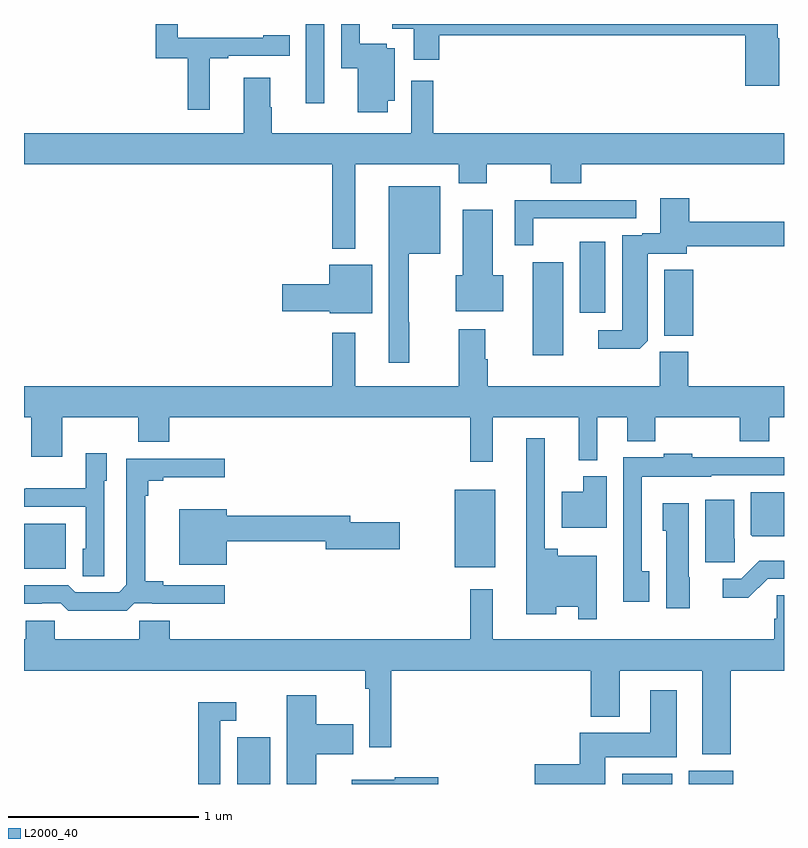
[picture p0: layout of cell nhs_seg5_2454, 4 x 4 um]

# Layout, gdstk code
import gdstk
lib = gdstk.Library(unit=1e-6, precision=1e-09)
def R(c, l, rs):  # rectangles x0, y0, x1, y1
    for r in rs: c.add(gdstk.rectangle(r[:2], r[2:], *l))
def P(c, l, *ps):  # polygons
    for p in ps: c.add(gdstk.Polygon(p, *l))
L2000_40 = (2000, 40)

nhs_seg5_2454 = lib.new_cell('nhs_seg5_2454')
R(nhs_seg5_2454, L2000_40, [(254.123,886.799,254.296,887.044), (256.148,886.799,256.411,886.852), (256.499,886.799,256.732,886.87), (253,887.933,253.219,888.169), (255.266,887.939,255.481,888.349), (255.677,889.056,255.838,889.546), (256.37,889.159,256.523,889.505), (255.926,889.278,256.06,889.654), (254.484,890.382,254.58,890.799)])
P(nhs_seg5_2454, L2000_40, [(253.978,890.619),(254.074,890.619),(254.074,890.631),(254.399,890.631),(254.399,890.74),(254.259,890.74),(254.259,890.727),(253.809,890.727),(253.809,890.799),(253.693,890.799),(253.693,890.619),(253.861,890.619),(253.861,890.349),(253.978,890.349)],
  [(254.914,890.396),(254.95,890.396),(254.95,890.671),(254.91,890.671),(254.91,890.694),(254.767,890.694),(254.767,890.799),(254.67,890.799),(254.67,890.566),(254.756,890.566),(254.756,890.334),(254.914,890.334)],
  [(256.974,890.723),(256.966,890.723),(256.966,890.799),(254.937,890.799),(254.937,890.774),(255.05,890.774),(255.05,890.61),(255.185,890.61),(255.185,890.74),(256.796,890.74),(256.796,890.475),(256.974,890.475)],
  [(254.743,890.06),(255.287,890.06),(255.287,889.961),(255.435,889.961),(255.435,890.06),(255.772,890.06),(255.772,889.961),(255.932,889.961),(255.932,890.06),(257,890.06),(257,890.224),(255.155,890.224),(255.155,890.5),(255.039,890.5),(255.039,890.224),(254.304,890.224),(254.304,890.361),(254.296,890.361),(254.296,890.515),(254.156,890.515),(254.156,890.224),(253,890.224),(253,890.06),(254.622,890.06),(254.622,889.616),(254.743,889.616)],
  [(255.028,889.229),(255.025,889.229),(255.025,889.589),(255.19,889.589),(255.19,889.945),(254.921,889.945),(254.921,889.017),(255.028,889.017)],
  [(256.282,889.132),(256.282,889.59),(256.489,889.59),(256.489,889.63),(257,889.63),(257,889.759),(256.502,889.759),(256.502,889.882),(256.349,889.882),(256.349,889.699),(256.253,889.699),(256.253,889.686),(256.148,889.686),(256.148,889.188),(256.023,889.188),(256.023,889.091),(256.241,889.091)],
  [(255.681,889.776),(256.222,889.776),(256.222,889.872),(255.582,889.872),(255.582,889.635),(255.681,889.635)],
  [(255.523,889.477),(255.466,889.477),(255.466,889.822),(255.308,889.822),(255.308,889.477),(255.272,889.477),(255.272,889.286),(255.523,889.286)],
  [(254.833,889.531),(254.606,889.531),(254.606,889.43),(254.358,889.43),(254.358,889.288),(254.61,889.288),(254.61,889.277),(254.833,889.277)],
  [(255.467,888.728),(255.92,888.728),(255.92,888.503),(256.018,888.503),(256.018,888.728),(256.175,888.728),(256.175,888.604),(256.323,888.604),(256.323,888.728),(256.767,888.728),(256.767,888.604),(256.923,888.604),(256.923,888.728),(257,888.728),(257,888.892),(256.496,888.892),(256.496,889.074),(256.345,889.074),(256.345,888.892),(255.44,888.892),(255.44,889.034),(255.427,889.034),(255.427,889.192),(255.287,889.192),(255.287,888.892),(254.743,888.892),(254.743,889.174),(254.622,889.174),(254.622,888.892),(253,888.892),(253,888.728),(253.037,888.728),(253.037,888.522),(253.201,888.522),(253.201,888.728),(253.601,888.728),(253.601,888.6),(253.765,888.6),(253.765,888.728),(255.349,888.728),(255.349,888.495),(255.467,888.495)],
  [(256.014,888.001),(255.81,888.001),(255.81,888.037),(255.741,888.037),(255.741,888.619),(255.644,888.619),(255.644,887.693),(255.802,887.693),(255.802,887.732),(255.918,887.732),(255.918,887.667),(256.014,887.667)],
  [(253.422,888.396),(253.435,888.396),(253.435,888.541),(253.326,888.541),(253.326,888.355),(253.009,888.355),(253.009,888.354),(253,888.354),(253,888.258),(253.326,888.258),(253.326,888.036),(253.31,888.036),(253.31,887.893),(253.422,887.893)],
  [(256.291,887.918),(256.251,887.918),(256.251,888.416),(256.617,888.416),(256.617,888.423),(257,888.423),(257,888.519),(256.518,888.519),(256.518,888.537),(256.368,888.537),(256.368,888.519),(256.155,888.519),(256.155,887.997),(256.154,887.997),(256.154,887.757),(256.291,887.757)],
  [(253.581,887.751),(253.675,887.751),(253.675,887.747),(254.056,887.747),(254.056,887.844),(253.732,887.844),(253.732,887.867),(253.637,887.867),(253.637,888.317),(253.655,888.317),(253.655,888.394),(253.732,888.394),(253.732,888.413),(254.056,888.413),(254.056,888.51),(253.539,888.51),(253.539,887.847),(253.5,887.808),(253.269,887.808),(253.233,887.844),(253,887.844),(253,887.747),(253.094,887.747),(253.094,887.751),(253.194,887.751),(253.234,887.712),(253.541,887.712)],
  [(256.066,888.418),(255.944,888.418),(255.944,888.337),(255.83,888.337),(255.83,888.149),(256.066,888.149)],
  [(257,888.334),(256.826,888.334),(256.826,888.112),(256.834,888.104),(257,888.104)],
  [(256.742,888.09),(256.738,888.09),(256.738,888.295),(256.586,888.295),(256.586,887.967),(256.742,887.967)],
  [(256.504,887.886),(256.498,887.886),(256.498,888.277),(256.361,888.277),(256.361,888.132),(256.379,888.132),(256.379,887.724),(256.504,887.724)],
  [(254.068,888.076),(254.588,888.076),(254.588,888.034),(254.977,888.034),(254.977,888.176),(254.716,888.176),(254.716,888.212),(254.068,888.212),(254.068,888.244),(253.817,888.244),(253.817,887.954),(254.068,887.954)],
  [(256.914,887.88),(257,887.88),(257,887.975),(256.871,887.975),(256.776,887.88),(256.677,887.88),(256.677,887.778),(256.812,887.778)],
  [(256.719,887.396),(257,887.396),(257,887.792),(256.962,887.792),(256.962,887.67),(256.949,887.67),(256.949,887.56),(255.466,887.56),(255.466,887.824),(255.349,887.824),(255.349,887.56),(253.766,887.56),(253.766,887.658),(253.606,887.658),(253.606,887.56),(253.161,887.56),(253.161,887.658),(253.01,887.658),(253.01,887.56),(253,887.56),(253,887.396),(254.797,887.396),(254.797,887.3),(254.817,887.3),(254.817,886.992),(254.933,886.992),(254.933,887.396),(255.983,887.396),(255.983,887.153),(256.135,887.153),(256.135,887.396),(256.571,887.396),(256.571,886.955),(256.719,886.955)],
  [(256.06,886.94),(256.435,886.94),(256.435,887.293),(256.295,887.293),(256.295,887.068),(255.926,887.068),(255.926,886.904),(255.687,886.904),(255.687,886.799),(256.06,886.799)],
  [(254.539,886.955),(254.732,886.955),(254.732,887.113),(254.539,887.113),(254.539,887.266),(254.384,887.266),(254.384,886.799),(254.539,886.799)],
  [(254.034,887.133),(254.116,887.133),(254.116,887.23),(253.918,887.23),(253.918,886.799),(254.034,886.799)],
  [(255.181,886.835),(254.952,886.835),(254.952,886.822),(254.726,886.822),(254.726,886.799),(255.181,886.799)])

lib.write_gds('nhs_seg5_2454.gds')
